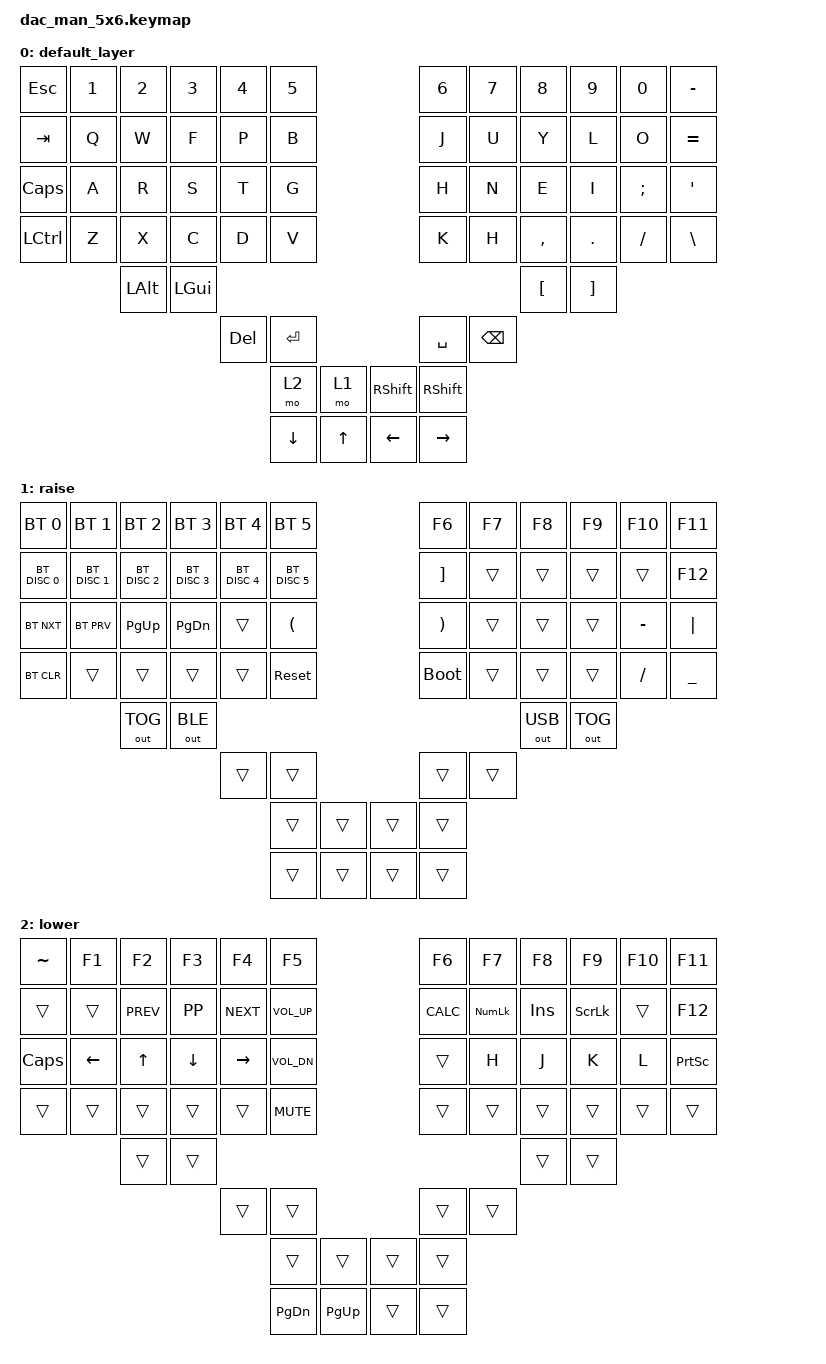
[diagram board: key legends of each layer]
#include <behaviors.dtsi>
#include <dt-bindings/zmk/bt.h>
#include <dt-bindings/zmk/keys.h>
#include <dt-bindings/zmk/outputs.h>

#define DEFAULT 0
#define RAISE   1
#define LOWER   2

/ {
    keymap {
        compatible = "zmk,keymap";
        debounce-press-ms = <6>;
        debounce-release-ms = <7>;

        default_layer {
            // Colemak-DH inspired base, thumb-optimized, bed-typing friendly

            bindings = <
&kp ESC    &kp N1  &kp N2    &kp N3    &kp N4   &kp N5                              &kp N6           &kp N7         &kp N8     &kp N9    &kp N0    &kp MINUS
&kp TAB    &kp Q   &kp W     &kp F     &kp P    &kp B                               &kp J            &kp U          &kp Y      &kp L     &kp O     &kp EQUAL
&kp CAPS   &kp A   &kp R     &kp S     &kp T    &kp G                               &kp H            &kp N          &kp E      &kp I     &kp SEMI  &kp APOS
&kp LCTRL  &kp Z   &kp X     &kp C     &kp D    &kp V                               &kp K            &kp H          &kp COMMA  &kp DOT   &kp FSLH  &kp BSLH
                   &kp LALT  &kp LGUI                                                                               &kp LBKT   &kp RBKT
                                       &kp DEL  &kp ENTER                           &kp SPACE        &kp BACKSPACE
                                                &mo 2      &mo 1   &kp RIGHT_SHIFT  &kp RIGHT_SHIFT
                                                &kp DOWN   &kp UP  &kp LEFT         &kp RIGHT
            >;
        };

        raise {
            // unchanged – known good

            bindings = <
&bt BT_SEL 0   &bt BT_SEL 1   &bt BT_SEL 2   &bt BT_SEL 3   &bt BT_SEL 4   &bt BT_SEL 5                   &kp F6       &kp F7  &kp F8        &kp F9        &kp F10    &kp F11
&bt BT_DISC 0  &bt BT_DISC 1  &bt BT_DISC 2  &bt BT_DISC 3  &bt BT_DISC 4  &bt BT_DISC 5                  &kp RBKT     &trans  &trans        &trans        &trans     &kp F12
&bt BT_NXT     &bt BT_PRV     &kp PG_UP      &kp PG_DN      &trans         &kp LPAR                       &kp RPAR     &trans  &trans        &trans        &kp MINUS  &kp PIPE
&bt BT_CLR     &trans         &trans         &trans         &trans         &sys_reset                     &bootloader  &trans  &trans        &trans        &kp FSLH   &kp UNDER
                              &out OUT_TOG   &out OUT_BLE                                                                      &out OUT_USB  &out OUT_TOG
                                                            &trans         &trans                         &trans       &trans
                                                                           &trans         &trans  &trans  &trans
                                                                           &trans         &trans  &trans  &trans
            >;
        };

        lower {
            // unchanged – known good

            bindings = <
&kp TILDE  &kp F1    &kp F2      &kp F3    &kp F4      &kp F5                            &kp F6      &kp F7      &kp F8   &kp F9    &kp F10  &kp F11
&trans     &trans    &kp K_PREV  &kp K_PP  &kp K_NEXT  &kp C_VOL_UP                      &kp K_CALC  &kp KP_NUM  &kp INS  &kp SLCK  &trans   &kp F12
&kp CLCK   &kp LEFT  &kp UP      &kp DOWN  &kp RIGHT   &kp C_VOL_DN                      &trans      &kp H       &kp J    &kp K     &kp L    &kp PRINTSCREEN
&trans     &trans    &trans      &trans    &trans      &kp C_MUTE                        &trans      &trans      &trans   &trans    &trans   &trans
                     &trans      &trans                                                                          &trans   &trans
                                           &trans      &trans                            &trans      &trans
                                                       &trans         &trans     &trans  &trans
                                                       &kp PAGE_DOWN  &kp PG_UP  &trans  &trans
            >;
        };
    };
};
